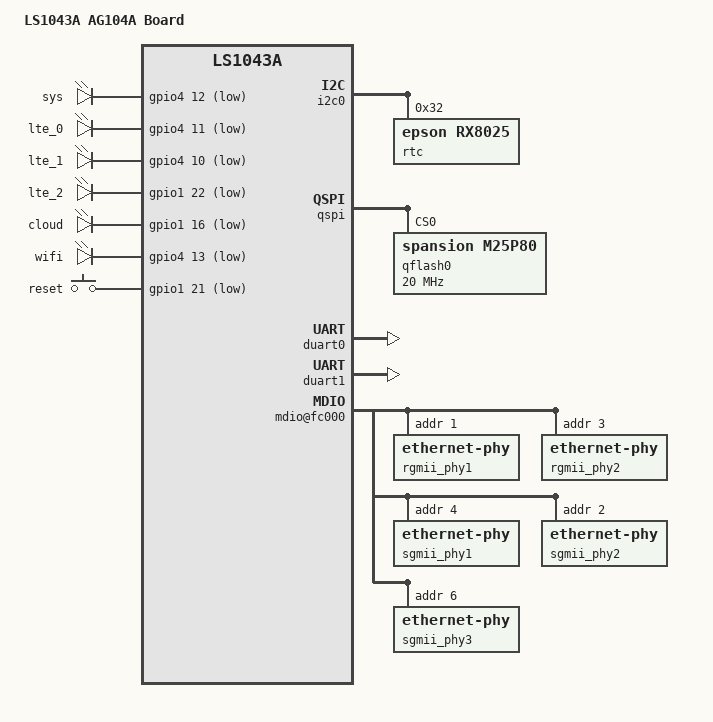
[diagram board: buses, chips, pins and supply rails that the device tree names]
// SPDX-License-Identifier: (GPL-2.0+ OR MIT)
/*
 * Device Tree Include file for Freescale Layerscape-1043A family SoC.
 *
 * Copyright 2014-2015 Freescale Semiconductor, Inc.
 *
 * Mingkai Hu <Mingkai.hu@freescale.com>
 */

/dts-v1/;
#include "../hclink-ls1043a.dtsi"

/ {
	model = "LS1043A AG104A Board";

	aliases {
		crypto = &crypto;
		serial0 = &duart0;
		serial1 = &duart1;
		serial2 = &duart2;
		serial3 = &duart3;
	};

	chosen {
		stdout-path = "serial0:115200n8";
	};
};

&esdhc {
	mmc-hs200-1_8v;
	sd-uhs-sdr104;
	sd-uhs-sdr50;
	sd-uhs-sdr25;
	sd-uhs-sdr12;
};

&i2c0 {
	status = "okay";
	rtc@32 {
		compatible = "epson,rx8025";
		reg = <0x32>;
	};
};

&leds {
	sys {
		label = "sys";
		gpios = <&gpio4 12 1>;
		linux,default-trigger = "timer";
	};

	lte_0 {
		label = "lte_0";
		gpios = <&gpio4 11 1>;
	};

	lte_1 {
		label = "lte_1";
		gpios = <&gpio4 10 1>;
	};

	lte_2 {
		label = "lte_2";
		gpios = <&gpio1 22 1>;
	};

	cloud {
		label = "cloud";
		gpios = <&gpio1 16 1>;
	};		
			
	wifi {
		label = "wifi";
		gpios = <&gpio4 13 1>;
	};				
};

&keys{
	reset {
		label = "reset";
		gpios = <&gpio1 21 1>;
		linux,code = <0x198>;
	};
};

&ifc {
	status = "disable";
	#address-cells = <2>;
	#size-cells = <1>;
	/* NOR, NAND Flashes and FPGA on board */
	ranges = <0x0 0x0 0x0 0x60000000 0x08000000
		  0x1 0x0 0x0 0x7e800000 0x00010000
		  0x2 0x0 0x0 0x7fb00000 0x00000100>;

		nor@0,0 {
			compatible = "cfi-flash";
			#address-cells = <1>;
			#size-cells = <1>;
			reg = <0x0 0x0 0x8000000>;
			bank-width = <2>;
			device-width = <1>;
		};

		nand@1,0 {
			compatible = "fsl,ifc-nand";
			#address-cells = <1>;
			#size-cells = <1>;
			reg = <0x1 0x0 0x10000>;
		};

		cpld: board-control@2,0 {
			compatible = "fsl,ls1043ardb-cpld";
			reg = <0x2 0x0 0x0000100>;
		};
};

&dspi0 {
	bus-num = <0>;
	status = "disabled";

	flash@0 {
		#address-cells = <1>;
		#size-cells = <1>;
		compatible = "n25q128a13", "jedec,spi-nor";  /* 16MB */
		reg = <0>;
		spi-max-frequency = <1000000>; /* input clock */
	};

	slic@2 {
		compatible = "maxim,ds26522";
		reg = <2>;
		spi-max-frequency = <2000000>;
		fsl,spi-cs-sck-delay = <100>;
		fsl,spi-sck-cs-delay = <50>;
	};

	slic@3 {
		compatible = "maxim,ds26522";
		reg = <3>;
		spi-max-frequency = <2000000>;
		fsl,spi-cs-sck-delay = <100>;
		fsl,spi-sck-cs-delay = <50>;
	};
};

&qspi {
	status = "okay";
	qflash0: s25fs512s@0 {
		compatible = "spansion,m25p80";
		#address-cells = <1>;
		#size-cells = <1>;
		spi-max-frequency = <20000000>;
		m25p,fast-read;
		reg = <0>;
		spi-rx-bus-width = <1>;
		spi-tx-bus-width = <1>;
	};
};

&uqe {
	ucc_hdlc: ucc@2000 {
		compatible = "fsl,ucc-hdlc";
		rx-clock-name = "clk8";
		tx-clock-name = "clk9";
		fsl,rx-sync-clock = "rsync_pin";
		fsl,tx-sync-clock = "tsync_pin";
		fsl,tx-timeslot-mask = <0xfffffffe>;
		fsl,rx-timeslot-mask = <0xfffffffe>;
		fsl,tdm-framer-type = "e1";
		fsl,tdm-id = <0>;
		fsl,siram-entry-id = <0>;
		fsl,tdm-interface;
	};
};

&duart0 {
	status = "okay";
};

&duart1 {
	status = "okay";
};

#include "../fsl-ls1043-post.dtsi"

&fman0 {

	ethernet@e2000 {
		phy-handle = <&sgmii_phy1>;
		phy-connection-type = "sgmii";
	};

	ethernet@e4000 {
		phy-handle = <&rgmii_phy1>;
		phy-connection-type = "rgmii";
	};

	ethernet@e6000 {
		phy-handle = <&rgmii_phy2>;
		phy-connection-type = "rgmii";
	};

	ethernet@e8000 {
		phy-handle = <&sgmii_phy2>;
		phy-connection-type = "sgmii";
	};

	ethernet@f0000 { 
		phy-handle = <&sgmii_phy3>;
		phy-connection-type = "sgmii";
	};

	mdio@fc000 {
		rgmii_phy1: ethernet-phy@1 {
			reg = <0x1>;
		};

		rgmii_phy2: ethernet-phy@3 {
			reg = <0x3>;
		};

		sgmii_phy1: ethernet-phy@4 {
			reg = <0x4>;
			max-speed = <1000>;
		};

		sgmii_phy2: ethernet-phy@2 {
			reg = <0x2>;
			max-speed = <1000>;
		};

		sgmii_phy3: ethernet-phy@6 {
			reg = <0x6>;
			max-speed = <1000>;
		};
	};
};
